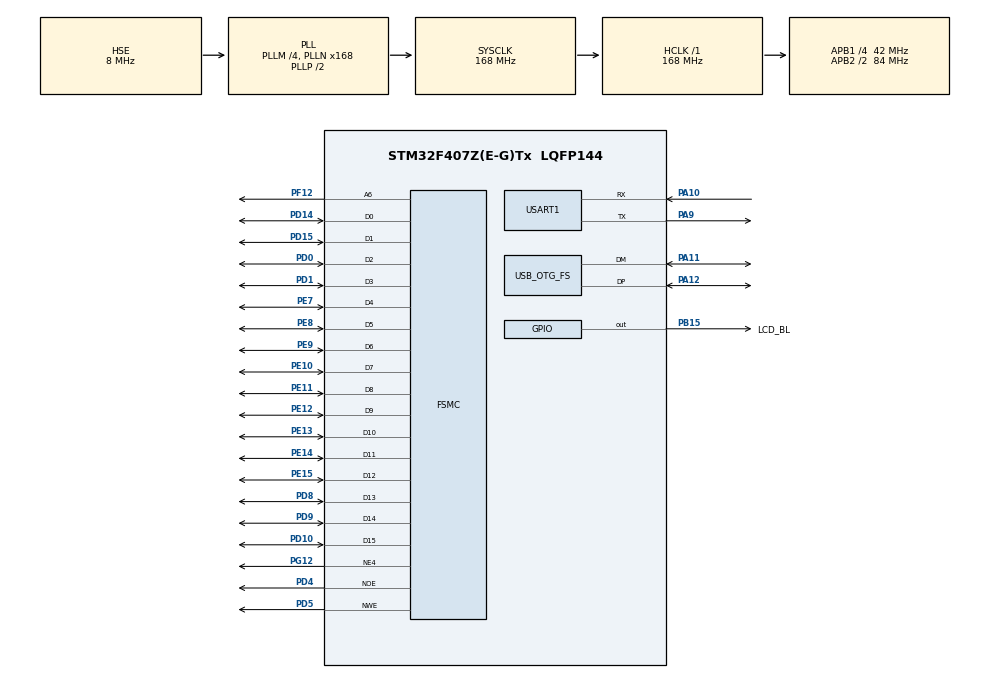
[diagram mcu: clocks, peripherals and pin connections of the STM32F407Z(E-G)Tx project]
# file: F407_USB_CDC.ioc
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FSMC.AddressSetupTime1=0x0F
FSMC.BusTurnAroundDuration1=0
FSMC.DataSetupTime1=60
FSMC.ExtendedAddressSetupTime1=9
FSMC.ExtendedBusTurnAroundDuration1=0
FSMC.ExtendedDataSetupTime1=8
FSMC.ExtendedMode1=FSMC_EXTENDED_MODE_ENABLE
Mcu.Family=STM32F4
Mcu.Name=STM32F407Z(E-G)Tx
Mcu.Package=LQFP144
NVIC.OTG_FS_IRQn=true\:0\:0\:false\:false\:true\:true\:true\:true
NVIC.PriorityGroup=NVIC_PRIORITYGROUP_4
PA10.Mode=Asynchronous
PA10.Signal=USART1_RX
PA11.Mode=Device_Only
PA11.Signal=USB_OTG_FS_DM
PA12.Mode=Device_Only
PA12.Signal=USB_OTG_FS_DP
PA13.Mode=Serial_Wire
PA13.Signal=SYS_JTMS-SWDIO
PA14.Mode=Serial_Wire
PA14.Signal=SYS_JTCK-SWCLK
PA9.Mode=Asynchronous
PA9.Signal=USART1_TX
PB15.GPIO_Label=LCD_BL
PB15.GPIO_PuPd=GPIO_PULLUP
PB15.Signal=GPIO_Output
PD0.Signal=FSMC_D2_DA2
PD1.Signal=FSMC_D3_DA3
PD10.Signal=FSMC_D15_DA15
PD14.Signal=FSMC_D0_DA0
PD15.Signal=FSMC_D1_DA1
PD4.Signal=FSMC_NOE
PD5.Signal=FSMC_NWE
PD8.Signal=FSMC_D13_DA13
PD9.Signal=FSMC_D14_DA14
PE10.Signal=FSMC_D7_DA7
PE11.Signal=FSMC_D8_DA8
PE12.Signal=FSMC_D9_DA9
PE13.Signal=FSMC_D10_DA10
PE14.Signal=FSMC_D11_DA11
PE15.Signal=FSMC_D12_DA12
PE7.Signal=FSMC_D4_DA4
PE8.Signal=FSMC_D5_DA5
PE9.Signal=FSMC_D6_DA6
PF12.Signal=FSMC_A6
PG12.Mode=NorPsramChipSelect4_1
PG12.Signal=FSMC_NE4
PH0-OSC_IN.Mode=HSE-External-Oscillator
PH0-OSC_IN.Signal=RCC_OSC_IN
PH1-OSC_OUT.Mode=HSE-External-Oscillator
PH1-OSC_OUT.Signal=RCC_OSC_OUT
ProjectManager.HeapSize=0x5000
ProjectManager.StackSize=0x5000
ProjectManager.TargetToolchain=Makefile
RCC.48MHZClocksFreq_Value=48000000
RCC.AHBFreq_Value=168000000
RCC.APB1CLKDivider=RCC_HCLK_DIV4
RCC.APB1Freq_Value=42000000
RCC.APB1TimFreq_Value=84000000
RCC.APB2CLKDivider=RCC_HCLK_DIV2
RCC.APB2Freq_Value=84000000
RCC.APB2TimFreq_Value=168000000
RCC.CortexFreq_Value=168000000
RCC.HCLKFreq_Value=168000000
RCC.HSE_VALUE=8000000
RCC.HSI_VALUE=16000000
RCC.LSE_VALUE=32768
RCC.PLLM=4
RCC.PLLN=168
RCC.PLLQ=7
RCC.SYSCLKFreq_VALUE=168000000
RCC.SYSCLKSource=RCC_SYSCLKSOURCE_PLLCLK
RCC.VCOOutputFreq_Value=336000000
SH.FSMC_A6.0=FSMC_A6,A6_1
SH.FSMC_D0_DA0.0=FSMC_D0,16b-d1
SH.FSMC_D10_DA10.0=FSMC_D10,16b-d1
SH.FSMC_D11_DA11.0=FSMC_D11,16b-d1
SH.FSMC_D12_DA12.0=FSMC_D12,16b-d1
SH.FSMC_D13_DA13.0=FSMC_D13,16b-d1
SH.FSMC_D14_DA14.0=FSMC_D14,16b-d1
SH.FSMC_D15_DA15.0=FSMC_D15,16b-d1
SH.FSMC_D1_DA1.0=FSMC_D1,16b-d1
SH.FSMC_D2_DA2.0=FSMC_D2,16b-d1
SH.FSMC_D3_DA3.0=FSMC_D3,16b-d1
SH.FSMC_D4_DA4.0=FSMC_D4,16b-d1
SH.FSMC_D5_DA5.0=FSMC_D5,16b-d1
SH.FSMC_D6_DA6.0=FSMC_D6,16b-d1
SH.FSMC_D7_DA7.0=FSMC_D7,16b-d1
SH.FSMC_D8_DA8.0=FSMC_D8,16b-d1
SH.FSMC_D9_DA9.0=FSMC_D9,16b-d1
SH.FSMC_NOE.0=FSMC_NOE,Lcd1
SH.FSMC_NWE.0=FSMC_NWE,Lcd1
TIM6.AutoReloadPreload=TIM_AUTORELOAD_PRELOAD_ENABLE
TIM6.Period=100-1
TIM6.Prescaler=168-1
USART1.VirtualMode=VM_ASYNC
USB_OTG_FS.VirtualMode=Device_Only
VP_TIM6_VS_ClockSourceINT.Mode=Enable_Timer
board=custom

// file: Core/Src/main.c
/* USER CODE BEGIN Header */
/**
  ******************************************************************************
  * @file           : main.c
  * @brief          : Main program body
  ******************************************************************************
  * @attention
  *
  * Copyright (c) 2025 STMicroelectronics.
  * All rights reserved.
  *
  * This software is licensed under terms that can be found in the LICENSE file
  * in the root directory of this software component.
  * If no LICENSE file comes with this software, it is provided AS-IS.
  *
  ******************************************************************************
  */
/* USER CODE END Header */
#include "main.h"
#include "tim.h"
#include "usart.h"
#include "usb_otg.h"
#include "gpio.h"
#include "fsmc.h"

/* USER CODE BEGIN Includes */
#include "SEGGER_RTT.h"
#include "app_terminal.h"

// #include "usbd_cdc_acm.h"
// #include "usb_log.h"
// #include "cdc_acm_ringbuffer.h"
// #include "lcd_logic.h"
// #include "gt9147_logic.h"

#include <string.h>

/* USER CODE END Includes */

/* USER CODE BEGIN PD */
// 定义UI布局
#define UI_AREA_HEIGHT    60  // 顶部UI条的高度 (像素)
#define BUTTON_WIDTH      100 // 每个按钮的宽度
#define BUTTON_HEIGHT     50  // 每个按钮的高度
#define BUTTON_MARGIN     10  // 按钮间距

// 定义按钮的X坐标
#define BUTTON_X_RED      (BUTTON_MARGIN)                                    // 10
#define BUTTON_X_GREEN    (BUTTON_X_RED + BUTTON_WIDTH + BUTTON_MARGIN)      // 120
#define BUTTON_X_BLUE     (BUTTON_X_GREEN + BUTTON_WIDTH + BUTTON_MARGIN)    // 230
#define BUTTON_X_ERASER   (BUTTON_X_BLUE + BUTTON_WIDTH + BUTTON_MARGIN)     // 340
#define BUTTON_X_CLEAR    (lcddev.width - BUTTON_WIDTH - BUTTON_MARGIN)      // 假设800宽, 为 690

// 定义画笔/橡皮擦大小 (奇数, 方便计算中心点)
#define BRUSH_SIZE        5   // 5x5 像素

/* USER CODE END PD */

/* USER CODE BEGIN PV */
// // 全局画笔颜色 (默认为黑色)
// static uint32_t current_color = BLACK;
// // 画笔/橡皮擦半径
// static int32_t brush_radius = BRUSH_SIZE / 2;

// /* USER CODE END PV */

// /* Private function prototypes -----------------------------------------------*/
void SystemClock_Config(void);
// /* USER CODE BEGIN PFP */
// static void draw_ui_palette(void); // 绘制UI界面
// static void handle_touch(uint16_t x, uint16_t y); // 处理触摸事件

/* USER CODE END PFP */

/* USER CODE BEGIN 0 */

/**
  * @brief USB Log (Retargets the C library printf function to the USART)
  */
#if defined(__CC_ARM)      // Keil
int fputc(int ch,FILE *f)
{
  SEGGER_RTT_Write(0, ptr, len);
  return len;
}
#elif defined(__GNUC__)   // GCC
int _write(int fd, char *ptr, int len)
{
  SEGGER_RTT_Write(0, ptr, len);
  return len;
  // HAL_Delay();
}
#endif

/* USER CODE END 0 */

int main(void)
{

  /* MCU Configuration--------------------------------------------------------*/

  /* Reset of all peripherals, Initializes the Flash interface and the Systick. */
  HAL_Init();

  /* Configure the system clock */
  SystemClock_Config();

  /* USER CODE BEGIN SysInit */
  SEGGER_RTT_Init();
  /* USER CODE END SysInit */

  /* Initialize all configured peripherals */
  MX_GPIO_Init();
  MX_USB_OTG_FS_PCD_Init();
  MX_USART1_UART_Init();
  MX_FSMC_Init();
  MX_TIM6_Init();
  /* USER CODE BEGIN 2 */

  // // FSMC LCD Init
  // LCD_Init();
  // // Set LCD Display Direction
  // LCD_Display_Dir(1);

  // // USB Device CDC Init
  // uint8_t busid = 0;
  // cdc_acm_init(busid, USB_OTG_FS_PERIPH_BASE);

  // // Only for Test
  // // HAL_Delay(100);
  // // LCD_Fill(0, 0, 100, 100, RED);
  // // LCD_ShowString(120, 10, 200, 16, 16, "Hello");
  // // LCD_ShowString(120, 40, 200, 16, 16, (uint8_t*)"Hello STM32!");
  // // LCD_DrawCircle(120, 160, 50);

  // /* 4. 触摸驱动初始化 */
  // // 我们将 LCD 的参数传递给触摸驱动，以便它正确映射坐标
  // if (GT9147_Init(lcddev.width, lcddev.height, lcddev.dir) != 0)
  // {
  //     // GT9147 初始化失败 (未检测到)
  //     // 在屏幕上显示错误信息
  //     LCD_ShowString(10, 10, 200, 20, 16, (uint8_t*)"Touch Init FAILED!");
  //     while(1);
  // }

  // /* 5. 准备绘画板 */
  // current_color = BLACK; // 默认画笔为黑色
  // LCD_Clear(WHITE);      // 将背景设为白色 "画纸"
  // draw_ui_palette();     // 绘制顶部的工具栏

  // /* 6. 主循环 */
  // GT_TouchPoint_t touch_points[GT_MAX_POINTS]; // 存储触摸点的数组

  if (App_Terminal_Init(0) != 0) // 传入 busid 0
  {
      // 初始化失败 (已在 app_terminal.c 中显示错误)
      Error_Handler();
  }

  /* USER CODE END 2 */

  /* Infinite loop */
  while (1)
  {

    /* USER CODE BEGIN 3 */
    // if (!cdc_acm_is_rx_empty())
    // {
    //   uint8_t rx_buf[128];
    //   int len = cdc_acm_read_data(rx_buf, sizeof(rx_buf));

    //   if (len > 0)
    //   {
    //     // 回显接收到的数据
    //     cdc_acm_send_data(busid, rx_buf, len);
    //     LCD_ShowString(5, 120, 400, 16, 32, rx_buf);
    //   }
    // }

    // // 定期发送心跳
    // static uint32_t tick = 0;
    // if (++tick % 10000 == 0)
    // {
    //     const char *msg = "Heartbeat\r\n";
    //     cdc_acm_send_data(busid, (uint8_t *)msg, strlen(msg));
    //     USB_LOG_INFO("Heartbeat");
    // }

    // // 重要：触发发送
    // cdc_acm_try_send(busid);

    // // 检测触摸事件
    // uint8_t touch_count = GT9147_Scan(touch_points, GT_MAX_POINTS);

    //   if (touch_count > 0)
    //   {
    //       // 遍历所有检测到的触摸点 (支持多点触控)
    //       for(uint8_t i = 0; i < touch_count; i++)
    //       {
    //           // 处理这个点的触摸事件
    //           handle_touch(touch_points[i].x, touch_points[i].y);
    //       }
    //   }

    // HAL_Delay(5);

    App_Terminal_Tasks();
  }
  /* USER CODE END 3 */
}

void SystemClock_Config(void)
{
  RCC_OscInitTypeDef RCC_OscInitStruct = {0};
  RCC_ClkInitTypeDef RCC_ClkInitStruct = {0};

  /** Configure the main internal regulator output voltage
  */
  __HAL_RCC_PWR_CLK_ENABLE();
  __HAL_PWR_VOLTAGESCALING_CONFIG(PWR_REGULATOR_VOLTAGE_SCALE1);

  /** Initializes the RCC Oscillators according to the specified parameters
  * in the RCC_OscInitTypeDef structure.
  */
  RCC_OscInitStruct.OscillatorType = RCC_OSCILLATORTYPE_HSE;
  RCC_OscInitStruct.HSEState = RCC_HSE_ON;
  RCC_OscInitStruct.PLL.PLLState = RCC_PLL_ON;
  RCC_OscInitStruct.PLL.PLLSource = RCC_PLLSOURCE_HSE;
  RCC_OscInitStruct.PLL.PLLM = 4;
  RCC_OscInitStruct.PLL.PLLN = 168;
  RCC_OscInitStruct.PLL.PLLP = RCC_PLLP_DIV2;
  RCC_OscInitStruct.PLL.PLLQ = 7;
  if (HAL_RCC_OscConfig(&RCC_OscInitStruct) != HAL_OK)
  {
    Error_Handler();
  }

  /** Initializes the CPU, AHB and APB buses clocks
  */
  RCC_ClkInitStruct.ClockType = RCC_CLOCKTYPE_HCLK|RCC_CLOCKTYPE_SYSCLK
                              |RCC_CLOCKTYPE_PCLK1|RCC_CLOCKTYPE_PCLK2;
  RCC_ClkInitStruct.SYSCLKSource = RCC_SYSCLKSOURCE_PLLCLK;
  RCC_ClkInitStruct.AHBCLKDivider = RCC_SYSCLK_DIV1;
  RCC_ClkInitStruct.APB1CLKDivider = RCC_HCLK_DIV4;
  RCC_ClkInitStruct.APB2CLKDivider = RCC_HCLK_DIV2;

  if (HAL_RCC_ClockConfig(&RCC_ClkInitStruct, FLASH_LATENCY_5) != HAL_OK)
  {
    Error_Handler();
  }
}

/* USER CODE BEGIN 4 */

// /**
//   * @brief  处理单点触摸事件
//   * @param  x: 触摸点 X 坐标
//   * @param  y: 触摸点 Y 坐标
//   * @retval 无
//   */
// static void handle_touch(uint16_t x, uint16_t y)
// {
//     // 检查触摸点是否在UI工具栏区域
//     if (y < UI_AREA_HEIGHT)
//     {
//         // 1. 点击了 "红色" 按钮
//         if (x > BUTTON_X_RED && x < (BUTTON_X_RED + BUTTON_WIDTH))
//         {
//             current_color = RED;
//         }
//         // 2. 点击了 "绿色" 按钮
//         else if (x > BUTTON_X_GREEN && x < (BUTTON_X_GREEN + BUTTON_WIDTH))
//         {
//             current_color = GREEN;
//         }
//         // 3. 点击了 "蓝色" 按钮
//         else if (x > BUTTON_X_BLUE && x < (BUTTON_X_BLUE + BUTTON_WIDTH))
//         {
//             current_color = BLUE;
//         }
//         // 4. 点击了 "橡皮擦" 按钮
//         else if (x > BUTTON_X_ERASER && x < (BUTTON_X_ERASER + BUTTON_WIDTH))
//         {
//             current_color = WHITE; // 橡皮擦就是白色的画笔
//         }
//         // 5. 点击了 "清除" 按钮
//         else if (x > BUTTON_X_CLEAR && x < (BUTTON_X_CLEAR + BUTTON_WIDTH))
//         {
//             // 清除绘画区域 (不清除UI)
//             LCD_Fill(0, UI_AREA_HEIGHT, lcddev.width - 1, lcddev.height - 1, WHITE);
//         }
//     }
//     // 触摸点在绘画区域
//     else
//     {
//         // 计算画刷的绘制范围
//         uint16_t sx = (x <= brush_radius) ? 0 : (x - brush_radius);
//         uint16_t sy = (y <= brush_radius) ? 0 : (y - brush_radius);
//         uint16_t ex = (x >= lcddev.width - 1 - brush_radius) ? (lcddev.width - 1) : (x + brush_radius);
//         uint16_t ey = (y >= lcddev.height - 1 - brush_radius) ? (lcddev.height - 1) : (y + brush_radius);

//         // 确保绘制不会覆盖UI
//         if(sy < UI_AREA_HEIGHT)
//         {
//             sy = UI_AREA_HEIGHT;
//         }

//         // 用当前颜色填充画刷区域
//         LCD_Fill(sx, sy, ex, ey, current_color);
//     }
// }

// /**
//   * @brief  绘制UI工具栏
//   * @retval 无
//   */
// static void draw_ui_palette(void)
// {
//     // 1. 绘制灰色背景条
//     LCD_Fill(0, 0, lcddev.width - 1, UI_AREA_HEIGHT - 1, LGRAY); // 浅灰色

//     // 2. 绘制按钮
//     uint16_t button_y_start = (UI_AREA_HEIGHT - BUTTON_HEIGHT) / 2; // Y坐标居中

//     // 红色按钮
//     LCD_Fill(BUTTON_X_RED, button_y_start, BUTTON_X_RED + BUTTON_WIDTH - 1, button_y_start + BUTTON_HEIGHT - 1, RED);

//     // 绿色按钮
//     LCD_Fill(BUTTON_X_GREEN, button_y_start, BUTTON_X_GREEN + BUTTON_WIDTH - 1, button_y_start + BUTTON_HEIGHT - 1, GREEN);

//     // 蓝色按钮
//     LCD_Fill(BUTTON_X_BLUE, button_y_start, BUTTON_X_BLUE + BUTTON_WIDTH - 1, button_y_start + BUTTON_HEIGHT - 1, BLUE);

//     // 橡皮擦按钮 (白色)
//     LCD_Fill(BUTTON_X_ERASER, button_y_start, BUTTON_X_ERASER + BUTTON_WIDTH - 1, button_y_start + BUTTON_HEIGHT - 1, WHITE);
//     LCD_DrawRectangle(BUTTON_X_ERASER, button_y_start, BUTTON_X_ERASER + BUTTON_WIDTH - 1, button_y_start + BUTTON_HEIGHT - 1); // 加个黑框

//     // 清除按钮 (深蓝色)
//     LCD_Fill(BUTTON_X_CLEAR, button_y_start, BUTTON_X_CLEAR + BUTTON_WIDTH - 1, button_y_start + BUTTON_HEIGHT - 1, DARKBLUE);
//     LCD_ShowString(BUTTON_X_CLEAR + 10, button_y_start + 17, BUTTON_WIDTH-20, BUTTON_HEIGHT-20, 16, (uint8_t*)"CLEAR ALL");
// }

/* USER CODE END 4 */

void Error_Handler(void)
{
  /* USER CODE BEGIN Error_Handler_Debug */
  /* User can add his own implementation to report the HAL error return state */
  __disable_irq();
  // printf("[ERR/SYS] Error_Handler\r\n");
  while (1)
  {
  }
  /* USER CODE END Error_Handler_Debug */
}
